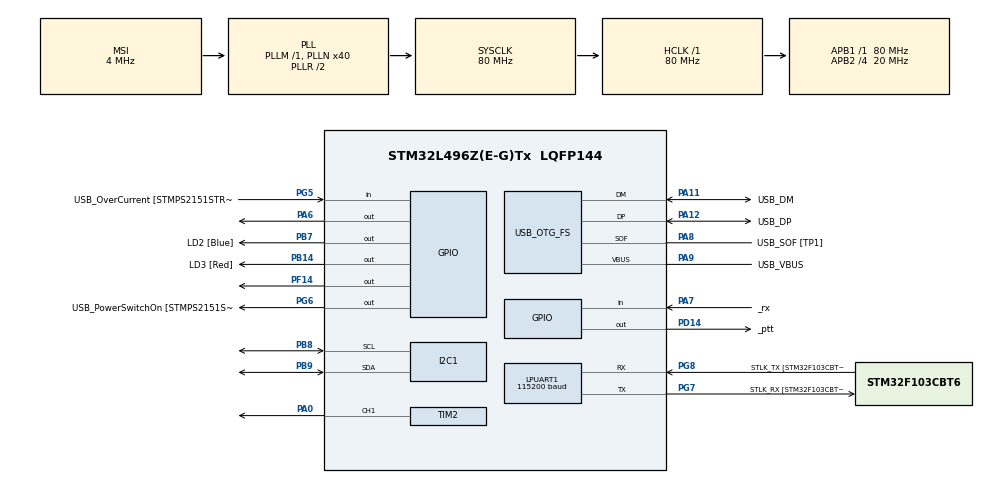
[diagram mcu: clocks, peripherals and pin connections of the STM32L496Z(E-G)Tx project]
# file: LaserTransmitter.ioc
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I2C1.Timing=0x10909CEC
LPUART1.BaudRate=115200
LPUART1.WordLength=UART_WORDLENGTH_8B
Mcu.Family=STM32L4
Mcu.Name=STM32L496Z(E-G)Tx
Mcu.Package=LQFP144
NVIC.PriorityGroup=NVIC_PRIORITYGROUP_4
NVIC.TIM5_IRQn=true\:0\:0\:false\:false\:true\:true\:true\:true
PA0.Signal=S_TIM2_CH1
PA10.GPIO_Label=USB_ID
PA10.Signal=USB_OTG_FS_ID
PA11.GPIO_Label=USB_DM
PA11.Mode=Device_Only
PA11.Signal=USB_OTG_FS_DM
PA12.GPIO_Label=USB_DP
PA12.Mode=Device_Only
PA12.Signal=USB_OTG_FS_DP
PA13\ (JTMS/SWDIO).GPIO_Label=TMS
PA13\ (JTMS/SWDIO).Mode=Trace_Asynchronous_SW
PA13\ (JTMS/SWDIO).Signal=SYS_JTMS-SWDIO
PA14\ (JTCK/SWCLK).GPIO_Label=TCK
PA14\ (JTCK/SWCLK).Mode=Trace_Asynchronous_SW
PA14\ (JTCK/SWCLK).Signal=SYS_JTCK-SWCLK
PA6.Signal=GPIO_Output
PA7.GPIO_Label=_rx
PA7.Signal=GPIO_Input
PA8.GPIO_Label=USB_SOF [TP1]
PA8.Mode=Activate_SOF_FS
PA8.Signal=USB_OTG_FS_SOF
PA9.GPIO_Label=USB_VBUS
PA9.Mode=Activate_VBUS
PA9.Signal=USB_OTG_FS_VBUS
PB14.GPIO_Label=LD3 [Red]
PB14.Signal=GPIO_Output
PB3\ (JTDO/TRACESWO).GPIO_Label=SWO
PB3\ (JTDO/TRACESWO).Mode=Trace_Asynchronous_SW
PB3\ (JTDO/TRACESWO).Signal=SYS_JTDO-SWO
PB7.GPIO_Label=LD2 [Blue]
PB7.Signal=GPIO_Output
PB8.Mode=I2C
PB8.Signal=I2C1_SCL
PB9.Mode=I2C
PB9.Signal=I2C1_SDA
PC14-OSC32_IN\ (PC14).Mode=LSE-External-Oscillator
PC14-OSC32_IN\ (PC14).Signal=RCC_OSC32_IN
PC15-OSC32_OUT\ (PC15).Mode=LSE-External-Oscillator
PC15-OSC32_OUT\ (PC15).Signal=RCC_OSC32_OUT
PD14.GPIO_Label=_ptt
PD14.Signal=GPIO_Output
PF14.Signal=GPIO_Output
PG5.GPIO_Label=USB_OverCurrent [STMPS2151STR_FAULT]
PG5.Signal=GPIO_Input
PG6.GPIO_Label=USB_PowerSwitchOn [STMPS2151STR_EN]
PG6.Signal=GPIO_Output
PG7.GPIO_Label=STLK_RX [STM32F103CBT6_PA3]
PG7.Mode=Asynchronous
PG7.Signal=LPUART1_TX
PG8.GPIO_Label=STLK_TX [STM32F103CBT6_PA2]
PG8.Mode=Asynchronous
PG8.Signal=LPUART1_RX
PH0-OSC_IN\ (PH0).Mode=HSE-External-Oscillator
PH0-OSC_IN\ (PH0).Signal=RCC_OSC_IN
PH1-OSC_OUT\ (PH1).Mode=HSE-External-Oscillator
PH1-OSC_OUT\ (PH1).Signal=RCC_OSC_OUT
ProjectManager.HeapSize=0x200
ProjectManager.StackSize=0x400
ProjectManager.TargetToolchain=STM32CubeIDE
RCC.48MHZClocksFreq_Value=24000000
RCC.ADCFreq_Value=48000000
RCC.AHBFreq_Value=80000000
RCC.APB1Freq_Value=80000000
RCC.APB1TimFreq_Value=80000000
RCC.APB2CLKDivider=RCC_HCLK_DIV4
RCC.APB2Freq_Value=20000000
RCC.APB2TimFreq_Value=40000000
RCC.CortexFreq_Value=80000000
RCC.HCLKFreq_Value=80000000
RCC.HSE_VALUE=8000000
RCC.HSI48_VALUE=48000000
RCC.HSI_VALUE=16000000
RCC.MSI_VALUE=4000000
RCC.PLLMUL=RCC_PLL_MUL9
RCC.PLLN=40
RCC.PLLSAI1N=24
RCC.PRESCALERUSB=RCC_USBCLKSOURCE_PLL_DIV1_5
RCC.SYSCLKFreq_VALUE=80000000
RCC.SYSCLKSource=RCC_SYSCLKSOURCE_PLLCLK
RCC.SYSCLKSourceVirtual=RCC_SYSCLKSOURCE_PLLCLK
RCC.USBFreq_Value=48000000
RCC.VCOOutputFreq_Value=160000000
SH.S_TIM2_CH1.0=TIM2_CH1,PWM Generation1 CH1
TIM2.Channel-PWM\ Generation1\ CH1=TIM_CHANNEL_1
TIM2.Period=1000
TIM2.Prescaler=800
TIM5.Channel-Output\ Compare1\ No\ Output=TIM_CHANNEL_1
USB_OTG_FS.VirtualMode=Device_Only
VP_TIM2_VS_ClockSourceINT.Mode=Internal
VP_TIM5_VS_ClockSourceINT.Mode=Internal
VP_TIM5_VS_no_output1.Mode=Output Compare1 No Output
board=NUCLEO-L496ZG

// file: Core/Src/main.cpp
/* USER CODE BEGIN Header */
/**
  ******************************************************************************
  * @file           : main.c
  * @brief          : Main program body
  ******************************************************************************
  * @attention
  *
  * Copyright (c) 2022 STMicroelectronics.
  * All rights reserved.
  *
  * This software is licensed under terms that can be found in the LICENSE file
  * in the root directory of this software component.
  * If no LICENSE file comes with this software, it is provided AS-IS.
  *
  ******************************************************************************
  */
/* USER CODE END Header */
#include "main.h"

/* USER CODE BEGIN Includes */
#include <ASK.h>
/* USER CODE END Includes */

 I2C_HandleTypeDef hi2c1;

UART_HandleTypeDef hlpuart1;

TIM_HandleTypeDef htim2;
TIM_HandleTypeDef htim5;

PCD_HandleTypeDef hpcd_USB_OTG_FS;

/* USER CODE BEGIN PV */
ASK driver;
/* USER CODE END PV */

void SystemClock_Config(void);
static void MX_GPIO_Init(void);
static void MX_LPUART1_UART_Init(void);
static void MX_USB_OTG_FS_PCD_Init(void);
static void MX_I2C1_Init(void);
static void MX_TIM2_Init(void);
static void MX_TIM5_Init(void);

int main(void)
{
  /* USER CODE BEGIN 1 */
	int32_t CH1_DC = 0;
	uint8_t errMsg[] = "Fail init";
	uint8_t passMsg[] = "Successful init";
	uint8_t msgRX[16] = "Fuck you pussy?";
  /* USER CODE END 1 */

  /* MCU Configuration--------------------------------------------------------*/

  /* Reset of all peripherals, Initializes the Flash interface and the Systick. */
  HAL_Init();

  /* Configure the system clock */
  SystemClock_Config();

  /* Initialize all configured peripherals */
  MX_GPIO_Init();
  MX_LPUART1_UART_Init();
  MX_USB_OTG_FS_PCD_Init();
  MX_I2C1_Init();
  MX_TIM2_Init();
  MX_TIM5_Init();
  /* USER CODE BEGIN 2 */
  while (!driver.init()) {
	  HAL_UART_Transmit(&hlpuart1, errMsg, strlen((char*) errMsg), 2000);
  }
  HAL_UART_Transmit(&hlpuart1, passMsg, strlen((char*) passMsg), 2000);
  TIM5_IRQHandler();
  HAL_TIM_Base_Start_IT(&htim5);
  /* USER CODE END 2 */

  /* Infinite loop */
  /* USER CODE BEGIN WHILE */
  while (1)
  {

	  driver.send(msgRX, sizeof(msgRX));
	  HAL_Delay(1000);
    /* USER CODE END WHILE */

  }
}

void SystemClock_Config(void)
{
  RCC_OscInitTypeDef RCC_OscInitStruct = {0};
  RCC_ClkInitTypeDef RCC_ClkInitStruct = {0};

  /** Configure the main internal regulator output voltage
  */
  if (HAL_PWREx_ControlVoltageScaling(PWR_REGULATOR_VOLTAGE_SCALE1) != HAL_OK)
  {
    Error_Handler();
  }

  /** Configure LSE Drive Capability
  */
  HAL_PWR_EnableBkUpAccess();
  __HAL_RCC_LSEDRIVE_CONFIG(RCC_LSEDRIVE_LOW);

  /** Initializes the RCC Oscillators according to the specified parameters
  * in the RCC_OscInitTypeDef structure.
  */
  RCC_OscInitStruct.OscillatorType = RCC_OSCILLATORTYPE_LSE|RCC_OSCILLATORTYPE_MSI;
  RCC_OscInitStruct.LSEState = RCC_LSE_ON;
  RCC_OscInitStruct.MSIState = RCC_MSI_ON;
  RCC_OscInitStruct.MSICalibrationValue = 0;
  RCC_OscInitStruct.MSIClockRange = RCC_MSIRANGE_6;
  RCC_OscInitStruct.PLL.PLLState = RCC_PLL_ON;
  RCC_OscInitStruct.PLL.PLLSource = RCC_PLLSOURCE_MSI;
  RCC_OscInitStruct.PLL.PLLM = 1;
  RCC_OscInitStruct.PLL.PLLN = 40;
  RCC_OscInitStruct.PLL.PLLP = RCC_PLLP_DIV2;
  RCC_OscInitStruct.PLL.PLLQ = RCC_PLLQ_DIV2;
  RCC_OscInitStruct.PLL.PLLR = RCC_PLLR_DIV2;
  if (HAL_RCC_OscConfig(&RCC_OscInitStruct) != HAL_OK)
  {
    Error_Handler();
  }

  /** Initializes the CPU, AHB and APB buses clocks
  */
  RCC_ClkInitStruct.ClockType = RCC_CLOCKTYPE_HCLK|RCC_CLOCKTYPE_SYSCLK
                              |RCC_CLOCKTYPE_PCLK1|RCC_CLOCKTYPE_PCLK2;
  RCC_ClkInitStruct.SYSCLKSource = RCC_SYSCLKSOURCE_PLLCLK;
  RCC_ClkInitStruct.AHBCLKDivider = RCC_SYSCLK_DIV1;
  RCC_ClkInitStruct.APB1CLKDivider = RCC_HCLK_DIV1;
  RCC_ClkInitStruct.APB2CLKDivider = RCC_HCLK_DIV4;

  if (HAL_RCC_ClockConfig(&RCC_ClkInitStruct, FLASH_LATENCY_4) != HAL_OK)
  {
    Error_Handler();
  }

  /** Enable MSI Auto calibration
  */
  HAL_RCCEx_EnableMSIPLLMode();
}

static void MX_I2C1_Init(void)
{

  hi2c1.Instance = I2C1;
  hi2c1.Init.Timing = 0x10909CEC;
  hi2c1.Init.OwnAddress1 = 0;
  hi2c1.Init.AddressingMode = I2C_ADDRESSINGMODE_7BIT;
  hi2c1.Init.DualAddressMode = I2C_DUALADDRESS_DISABLE;
  hi2c1.Init.OwnAddress2 = 0;
  hi2c1.Init.OwnAddress2Masks = I2C_OA2_NOMASK;
  hi2c1.Init.GeneralCallMode = I2C_GENERALCALL_DISABLE;
  hi2c1.Init.NoStretchMode = I2C_NOSTRETCH_DISABLE;
  if (HAL_I2C_Init(&hi2c1) != HAL_OK)
  {
    Error_Handler();
  }

  /** Configure Analogue filter
  */
  if (HAL_I2CEx_ConfigAnalogFilter(&hi2c1, I2C_ANALOGFILTER_ENABLE) != HAL_OK)
  {
    Error_Handler();
  }

  /** Configure Digital filter
  */
  if (HAL_I2CEx_ConfigDigitalFilter(&hi2c1, 0) != HAL_OK)
  {
    Error_Handler();
  }

}

static void MX_LPUART1_UART_Init(void)
{

  hlpuart1.Instance = LPUART1;
  hlpuart1.Init.BaudRate = 115200;
  hlpuart1.Init.WordLength = UART_WORDLENGTH_8B;
  hlpuart1.Init.StopBits = UART_STOPBITS_1;
  hlpuart1.Init.Parity = UART_PARITY_NONE;
  hlpuart1.Init.Mode = UART_MODE_TX_RX;
  hlpuart1.Init.HwFlowCtl = UART_HWCONTROL_NONE;
  hlpuart1.Init.OneBitSampling = UART_ONE_BIT_SAMPLE_DISABLE;
  hlpuart1.AdvancedInit.AdvFeatureInit = UART_ADVFEATURE_NO_INIT;
  if (HAL_UART_Init(&hlpuart1) != HAL_OK)
  {
    Error_Handler();
  }

}

static void MX_TIM2_Init(void)
{

  TIM_ClockConfigTypeDef sClockSourceConfig = {0};
  TIM_MasterConfigTypeDef sMasterConfig = {0};
  TIM_OC_InitTypeDef sConfigOC = {0};

  htim2.Instance = TIM2;
  htim2.Init.Prescaler = 800;
  htim2.Init.CounterMode = TIM_COUNTERMODE_UP;
  htim2.Init.Period = 1000;
  htim2.Init.ClockDivision = TIM_CLOCKDIVISION_DIV1;
  htim2.Init.AutoReloadPreload = TIM_AUTORELOAD_PRELOAD_DISABLE;
  if (HAL_TIM_Base_Init(&htim2) != HAL_OK)
  {
    Error_Handler();
  }
  sClockSourceConfig.ClockSource = TIM_CLOCKSOURCE_INTERNAL;
  if (HAL_TIM_ConfigClockSource(&htim2, &sClockSourceConfig) != HAL_OK)
  {
    Error_Handler();
  }
  if (HAL_TIM_PWM_Init(&htim2) != HAL_OK)
  {
    Error_Handler();
  }
  sMasterConfig.MasterOutputTrigger = TIM_TRGO_RESET;
  sMasterConfig.MasterSlaveMode = TIM_MASTERSLAVEMODE_DISABLE;
  if (HAL_TIMEx_MasterConfigSynchronization(&htim2, &sMasterConfig) != HAL_OK)
  {
    Error_Handler();
  }
  sConfigOC.OCMode = TIM_OCMODE_PWM1;
  sConfigOC.Pulse = 0;
  sConfigOC.OCPolarity = TIM_OCPOLARITY_HIGH;
  sConfigOC.OCFastMode = TIM_OCFAST_DISABLE;
  if (HAL_TIM_PWM_ConfigChannel(&htim2, &sConfigOC, TIM_CHANNEL_1) != HAL_OK)
  {
    Error_Handler();
  }
  HAL_TIM_MspPostInit(&htim2);

}

static void MX_TIM5_Init(void)
{

  TIM_ClockConfigTypeDef sClockSourceConfig = {0};
  TIM_MasterConfigTypeDef sMasterConfig = {0};
  TIM_OC_InitTypeDef sConfigOC = {0};

  htim5.Instance = TIM5;
  htim5.Init.Prescaler = 0;
  htim5.Init.CounterMode = TIM_COUNTERMODE_UP;
  htim5.Init.Period = 4294967295;
  htim5.Init.ClockDivision = TIM_CLOCKDIVISION_DIV1;
  htim5.Init.AutoReloadPreload = TIM_AUTORELOAD_PRELOAD_DISABLE;
  if (HAL_TIM_Base_Init(&htim5) != HAL_OK)
  {
    Error_Handler();
  }
  sClockSourceConfig.ClockSource = TIM_CLOCKSOURCE_INTERNAL;
  if (HAL_TIM_ConfigClockSource(&htim5, &sClockSourceConfig) != HAL_OK)
  {
    Error_Handler();
  }
  if (HAL_TIM_OC_Init(&htim5) != HAL_OK)
  {
    Error_Handler();
  }
  sMasterConfig.MasterOutputTrigger = TIM_TRGO_RESET;
  sMasterConfig.MasterSlaveMode = TIM_MASTERSLAVEMODE_DISABLE;
  if (HAL_TIMEx_MasterConfigSynchronization(&htim5, &sMasterConfig) != HAL_OK)
  {
    Error_Handler();
  }
  sConfigOC.OCMode = TIM_OCMODE_TIMING;
  sConfigOC.Pulse = 0;
  sConfigOC.OCPolarity = TIM_OCPOLARITY_HIGH;
  sConfigOC.OCFastMode = TIM_OCFAST_DISABLE;
  if (HAL_TIM_OC_ConfigChannel(&htim5, &sConfigOC, TIM_CHANNEL_1) != HAL_OK)
  {
    Error_Handler();
  }
  /* USER CODE BEGIN TIM5_Init 2 */
  uint16_t us=(HAL_RCC_GetHCLKFreq()/8)/driver.speed();
  htim5.Instance->CCR1 = us;
  htim5.Instance->ARR = us - 1;
  /* USER CODE END TIM5_Init 2 */

}

static void MX_USB_OTG_FS_PCD_Init(void)
{

  hpcd_USB_OTG_FS.Instance = USB_OTG_FS;
  hpcd_USB_OTG_FS.Init.dev_endpoints = 6;
  hpcd_USB_OTG_FS.Init.speed = PCD_SPEED_FULL;
  hpcd_USB_OTG_FS.Init.phy_itface = PCD_PHY_EMBEDDED;
  hpcd_USB_OTG_FS.Init.Sof_enable = ENABLE;
  hpcd_USB_OTG_FS.Init.low_power_enable = DISABLE;
  hpcd_USB_OTG_FS.Init.lpm_enable = DISABLE;
  hpcd_USB_OTG_FS.Init.battery_charging_enable = ENABLE;
  hpcd_USB_OTG_FS.Init.use_dedicated_ep1 = DISABLE;
  hpcd_USB_OTG_FS.Init.vbus_sensing_enable = ENABLE;
  if (HAL_PCD_Init(&hpcd_USB_OTG_FS) != HAL_OK)
  {
    Error_Handler();
  }

}

static void MX_GPIO_Init(void)
{
  GPIO_InitTypeDef GPIO_InitStruct = {0};

  /* GPIO Ports Clock Enable */
  __HAL_RCC_GPIOC_CLK_ENABLE();
  __HAL_RCC_GPIOH_CLK_ENABLE();
  __HAL_RCC_GPIOA_CLK_ENABLE();
  __HAL_RCC_GPIOF_CLK_ENABLE();
  __HAL_RCC_GPIOB_CLK_ENABLE();
  __HAL_RCC_GPIOD_CLK_ENABLE();
  __HAL_RCC_GPIOG_CLK_ENABLE();
  HAL_PWREx_EnableVddIO2();

  /*Configure GPIO pin Output Level */
  HAL_GPIO_WritePin(GPIOA, GPIO_PIN_6, GPIO_PIN_RESET);

  /*Configure GPIO pin Output Level */
  HAL_GPIO_WritePin(GPIOF, GPIO_PIN_14, GPIO_PIN_RESET);

  /*Configure GPIO pin Output Level */
  HAL_GPIO_WritePin(GPIOB, LD3_Pin|LD2_Pin, GPIO_PIN_RESET);

  /*Configure GPIO pin Output Level */
  HAL_GPIO_WritePin(_ptt_GPIO_Port, _ptt_Pin, GPIO_PIN_RESET);

  /*Configure GPIO pin Output Level */
  HAL_GPIO_WritePin(USB_PowerSwitchOn_GPIO_Port, USB_PowerSwitchOn_Pin, GPIO_PIN_RESET);

  /*Configure GPIO pin : PA6 */
  GPIO_InitStruct.Pin = GPIO_PIN_6;
  GPIO_InitStruct.Mode = GPIO_MODE_OUTPUT_PP;
  GPIO_InitStruct.Pull = GPIO_NOPULL;
  GPIO_InitStruct.Speed = GPIO_SPEED_FREQ_LOW;
  HAL_GPIO_Init(GPIOA, &GPIO_InitStruct);

  /*Configure GPIO pin : _rx_Pin */
  GPIO_InitStruct.Pin = _rx_Pin;
  GPIO_InitStruct.Mode = GPIO_MODE_INPUT;
  GPIO_InitStruct.Pull = GPIO_NOPULL;
  HAL_GPIO_Init(_rx_GPIO_Port, &GPIO_InitStruct);

  /*Configure GPIO pin : PF14 */
  GPIO_InitStruct.Pin = GPIO_PIN_14;
  GPIO_InitStruct.Mode = GPIO_MODE_OUTPUT_PP;
  GPIO_InitStruct.Pull = GPIO_NOPULL;
  GPIO_InitStruct.Speed = GPIO_SPEED_FREQ_LOW;
  HAL_GPIO_Init(GPIOF, &GPIO_InitStruct);

  /*Configure GPIO pins : LD3_Pin LD2_Pin */
  GPIO_InitStruct.Pin = LD3_Pin|LD2_Pin;
  GPIO_InitStruct.Mode = GPIO_MODE_OUTPUT_PP;
  GPIO_InitStruct.Pull = GPIO_NOPULL;
  GPIO_InitStruct.Speed = GPIO_SPEED_FREQ_LOW;
  HAL_GPIO_Init(GPIOB, &GPIO_InitStruct);

  /*Configure GPIO pin : _ptt_Pin */
  GPIO_InitStruct.Pin = _ptt_Pin;
  GPIO_InitStruct.Mode = GPIO_MODE_OUTPUT_PP;
  GPIO_InitStruct.Pull = GPIO_NOPULL;
  GPIO_InitStruct.Speed = GPIO_SPEED_FREQ_LOW;
  HAL_GPIO_Init(_ptt_GPIO_Port, &GPIO_InitStruct);

  /*Configure GPIO pin : USB_OverCurrent_Pin */
  GPIO_InitStruct.Pin = USB_OverCurrent_Pin;
  GPIO_InitStruct.Mode = GPIO_MODE_INPUT;
  GPIO_InitStruct.Pull = GPIO_NOPULL;
  HAL_GPIO_Init(USB_OverCurrent_GPIO_Port, &GPIO_InitStruct);

  /*Configure GPIO pin : USB_PowerSwitchOn_Pin */
  GPIO_InitStruct.Pin = USB_PowerSwitchOn_Pin;
  GPIO_InitStruct.Mode = GPIO_MODE_OUTPUT_PP;
  GPIO_InitStruct.Pull = GPIO_NOPULL;
  GPIO_InitStruct.Speed = GPIO_SPEED_FREQ_LOW;
  HAL_GPIO_Init(USB_PowerSwitchOn_GPIO_Port, &GPIO_InitStruct);

}

void Error_Handler(void)
{
  __disable_irq();
  while (1)
  {
  }
}
